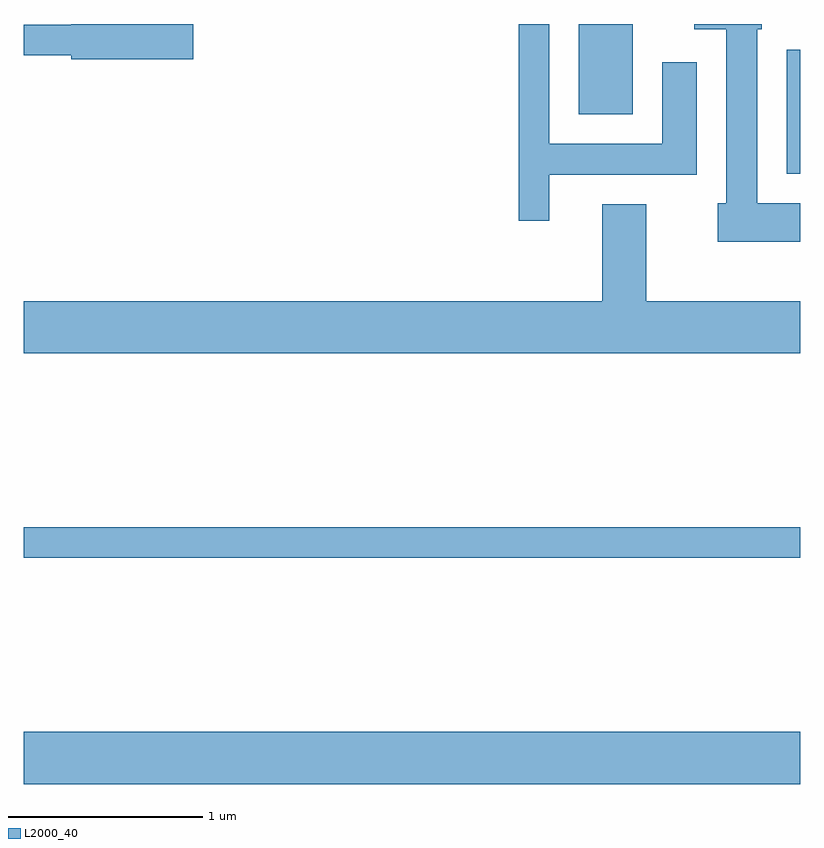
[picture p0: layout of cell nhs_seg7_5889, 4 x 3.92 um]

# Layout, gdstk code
import gdstk
lib = gdstk.Library(unit=1e-6, precision=1e-09)
def R(c, l, rs):  # rectangles x0, y0, x1, y1
    for r in rs: c.add(gdstk.rectangle(r[:2], r[2:], *l))
def P(c, l, *ps):  # polygons
    for p in ps: c.add(gdstk.Polygon(p, *l))
L2000_40 = (2000, 40)

nhs_seg7_5889 = lib.new_cell('nhs_seg7_5889')
R(nhs_seg7_5889, L2000_40, [(365.611,1694.336,369.611,1694.604), (365.611,1695.501,369.611,1695.659), (369.541,1697.481,369.611,1698.119), (368.471,1697.786,368.749,1698.252)])
P(nhs_seg7_5889, L2000_40, [(368.319,1697.476),(369.079,1697.476),(369.079,1698.054),(368.901,1698.054),(368.901,1697.634),(368.319,1697.634),(368.319,1698.252),(368.161,1698.252),(368.161,1697.238),(368.319,1697.238)],
  [(366.484,1698.252),(365.856,1698.252),(365.856,1698.249),(365.611,1698.249),(365.611,1698.091),(365.856,1698.091),(365.856,1698.071),(366.484,1698.071)],
  [(369.611,1697.329),(369.389,1697.329),(369.389,1698.226),(369.414,1698.226),(369.414,1698.252),(369.066,1698.252),(369.066,1698.226),(369.231,1698.226),(369.231,1697.329),(369.186,1697.329),(369.186,1697.131),(369.611,1697.131)],
  [(369.611,1696.824),(368.819,1696.824),(368.819,1697.324),(368.591,1697.324),(368.591,1696.824),(365.611,1696.824),(365.611,1696.556),(369.611,1696.556)])

lib.write_gds('nhs_seg7_5889.gds')
